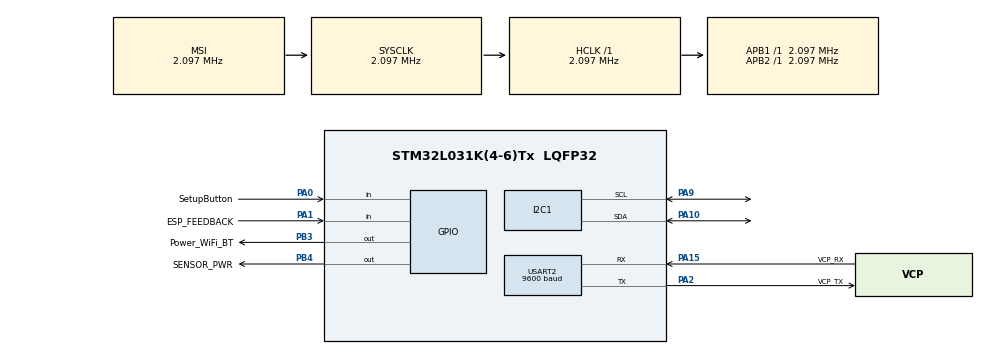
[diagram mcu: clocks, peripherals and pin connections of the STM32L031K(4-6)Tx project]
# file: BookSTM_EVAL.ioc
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I2C1.Timing=0x00000608
IWDG.Prescaler=IWDG_PRESCALER_256
Mcu.Family=STM32L0
Mcu.Name=STM32L031K(4-6)Tx
Mcu.Package=LQFP32
PA0-CK_IN.GPIO_Label=SetupButton
PA0-CK_IN.Signal=GPIO_Input
PA1.GPIO_Label=ESP_FEEDBACK
PA1.Signal=GPIO_Input
PA10.Mode=I2C
PA10.Signal=I2C1_SDA
PA13.GPIO_Label=TMS
PA13.Mode=Serial_Wire
PA13.Signal=SYS_SWDIO
PA14.GPIO_Label=TCK
PA14.Mode=Serial_Wire
PA14.Signal=SYS_SWCLK
PA15.GPIO_Label=VCP_RX
PA15.Mode=Asynchronous
PA15.Signal=USART2_RX
PA2.GPIO_Label=VCP_TX
PA2.Mode=Asynchronous
PA2.Signal=USART2_TX
PA9.Mode=I2C
PA9.Signal=I2C1_SCL
PB3.GPIO_Label=Power_WiFi_BT
PB3.Signal=GPIO_Output
PB4.GPIO_Label=SENSOR_PWR
PB4.Signal=GPIO_Output
PC14-OSC32_IN.Mode=LSE-External-Oscillator
PC14-OSC32_IN.Signal=RCC_OSC32_IN
PC15-OSC32_OUT.Mode=LSE-External-Oscillator
PC15-OSC32_OUT.Signal=RCC_OSC32_OUT
ProjectManager.HeapSize=0x200
ProjectManager.StackSize=0x400
ProjectManager.TargetToolchain=STM32CubeIDE
RCC.AHBFreq_Value=2097000
RCC.APB1Freq_Value=2097000
RCC.APB1TimFreq_Value=2097000
RCC.APB2Freq_Value=2097000
RCC.APB2TimFreq_Value=2097000
RCC.HCLKFreq_Value=2097000
RCC.HSE_VALUE=8000000
RCC.HSI16_VALUE=16000000
RCC.HSI48_VALUE=48000000
RCC.HSI_VALUE=16000000
RCC.MSI_VALUE=2097000
RCC.PLLMUL=RCC_PLLMUL_4
RCC.SYSCLKFreq_VALUE=2097000
RCC.VCOOutputFreq_Value=64000000
USART2.BaudRate=9600
USART2.VirtualMode-Asynchronous=VM_ASYNC
VP_IWDG_VS_IWDG.Mode=IWDG_Activate
VP_RTC_VS_RTC_Activate.Mode=RTC_Enabled
board=NUCLEO-L031K6

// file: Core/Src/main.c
/* USER CODE BEGIN Header */
/**
  ******************************************************************************
  * @file           : main.c
  * @brief          : Main program body
  ******************************************************************************
  * @attention
  *
  * Copyright (c) 2026 STMicroelectronics.
  * All rights reserved.
  *
  * This software is licensed under terms that can be found in the LICENSE file
  * in the root directory of this software component.
  * If no LICENSE file comes with this software, it is provided AS-IS.
  *
  ******************************************************************************
  */
/* USER CODE END Header */
#include "main.h"

/* USER CODE BEGIN Includes */
#include <stdio.h>
#include <stdbool.h>
/* USER CODE END Includes */

/* USER CODE BEGIN PM */
#define printf(...)    printf(__VA_ARGS__)
/* USER CODE END PM */

I2C_HandleTypeDef hi2c1;

IWDG_HandleTypeDef hiwdg;

RTC_HandleTypeDef hrtc;

UART_HandleTypeDef huart2;

void SystemClock_Config(void);
static void MX_GPIO_Init(void);
static void MX_USART2_UART_Init(void);
static void MX_I2C1_Init(void);
static void MX_IWDG_Init(void);
static void MX_RTC_Init(void);
/* USER CODE BEGIN PFP */
void 		SleepTight(void);
void 		SensorBringUP(void);
void 		watchdog_reset(void);
uint8_t 	GetSensorRegValue(uint8_t ui8Addr);
void 		GetSensorRegValueSet(uint8_t ui8Addr,  uint8_t *ui8Ptr, uint8_t ui8Size);
void 		SetSensorRegValue(uint8_t ui8Addr, uint8_t ui8Data);
void 		watchdog_set_active(void);
void 		watchdog_set_sleep(void);
uint32_t	GetTemperature(void);
int32_t 	bme280_compensate_T_int32(int32_t i32adc_T, struct bme280_calib_data *BME280_calib);
uint32_t 	bme280_compensate_P_int32(int32_t i32adc_P, struct bme280_calib_data *BME280_calib);
uint32_t 	bme280_compensate_H_int32(int32_t i32adc_H, struct bme280_calib_data *BME280_calib);
void 		bme280_read_calibration(struct bme280_calib_data *BME280_calib);
void 		GetMeasurmentThenUpdate(void);
uint32_t 	ui32_measure_vdd_mv(void);
void 		ConfirmComm(bool bState, uint32_t ui32CommDelay, uint8_t *ui8Data);
void 		WiFiSetup(void);
/* USER CODE END PFP */

/* USER CODE BEGIN 0 */

/* Global t_fine carry-over variable required for Pressure & Humidity calculations */
int32_t i32t_BME_fine;

// Returns temperature in DegC, resolution is 0.01 DegC. (e.g. 2500 means 25.00 DegC)
int32_t bme280_compensate_T_int32(int32_t i32adc_T, struct bme280_calib_data *BME280_calib)
{
    int32_t i32var1;
    int32_t i32var2;
    int32_t i32T;

    i32var1 = 0;
    i32var2 = 0;
    i32T = 0;

    i32var1 = ((((i32adc_T >> 3) - ((int32_t)BME280_calib->dig_T1 << 1))) * ((int32_t)BME280_calib->dig_T2)) >> 11;
    i32var2 = (((((i32adc_T >> 4) - ((int32_t)BME280_calib->dig_T1)) * ((i32adc_T >> 4) - ((int32_t)BME280_calib->dig_T1))) >> 12) * ((int32_t)BME280_calib->dig_T3)) >> 14;
    i32t_BME_fine = i32var1 + i32var2;
    i32T = (i32t_BME_fine * 5 + 128) >> 8;
    return i32T;
}

// Returns pressure in Pa as unsigned 32 bit integer
uint32_t bme280_compensate_P_int32(int32_t i32adc_P, struct bme280_calib_data *BME280_calib)
{
    int32_t i32var1;
    int32_t i32var2;
    uint32_t ui32p;

    i32var1 = 0;
    i32var2 = 0;
    ui32p = 0;

    i32var1 = (((int32_t)i32t_BME_fine) >> 1) - (int32_t)64000;
    i32var2 = (((i32var1 >> 2) * (i32var1 >> 2)) >> 11) * ((int32_t)BME280_calib->dig_P6);
    i32var2 = i32var2 + ((i32var1 * ((int32_t)BME280_calib->dig_P5)) << 1);
    i32var2 = (i32var2 >> 2) + (((int32_t)BME280_calib->dig_P4) << 16);
    i32var1 = (((BME280_calib->dig_P3 * (((i32var1 >> 2) * (i32var1 >> 2)) >> 13)) >> 3) + ((((int32_t)BME280_calib->dig_P2) * i32var1) >> 1)) >> 18;
    i32var1 = ((((32768 + i32var1)) * ((int32_t)BME280_calib->dig_P1)) >> 15);

    if (i32var1 != 0)
    {
    	ui32p = (((uint32_t)(((int32_t)1048576) - i32adc_P) - (i32var2 >> 12))) * 3125;
    	if (ui32p < 0x80000000)
    	{
    		ui32p = (ui32p << 1) / ((uint32_t)i32var1);
    	}
    	else
    	{
    		ui32p = (ui32p / (uint32_t)i32var1) * 2;
    	}

    	i32var1 = (((int32_t)BME280_calib->dig_P9) * ((int32_t)(((ui32p >> 3) * (ui32p >> 3)) >> 13))) >> 12;
    	i32var2 = (((int32_t)(ui32p >> 2)) * ((int32_t)BME280_calib->dig_P8)) >> 13;
    	ui32p = (uint32_t)((int32_t)ui32p + ((i32var1 + i32var2 + BME280_calib->dig_P7) >> 4));
    }
    return ui32p;
}

// Returns humidity in %RH as unsigned 32 bit integer, scaled by 1024.
// (e.g. 46080 means 46080 / 1024 = 45.00 %RH)
uint32_t bme280_compensate_H_int32(int32_t i32adc_H, struct bme280_calib_data *BME280_calib)
{
    int32_t i32v_x1_u32r;

    i32v_x1_u32r = 0;

    i32v_x1_u32r = (i32t_BME_fine - ((int32_t)76800));

    i32v_x1_u32r = (((((i32adc_H << 14) - (((int32_t)BME280_calib->dig_H4) << 20) - (((int32_t)BME280_calib->dig_H5) * i32v_x1_u32r)) +
                  ((int32_t)16384)) >> 15) * (((((((i32v_x1_u32r * ((int32_t)BME280_calib->dig_H6)) >> 10) *
                  (((i32v_x1_u32r * ((int32_t)BME280_calib->dig_H3)) >> 11) + ((int32_t)32768))) >> 10) + ((int32_t)2097152)) *
                  ((int32_t)BME280_calib->dig_H2) + ((int32_t)8192)) >> 14));

    i32v_x1_u32r = (i32v_x1_u32r - (((((i32v_x1_u32r >> 15) * (i32v_x1_u32r >> 15)) >> 7) * ((int32_t)BME280_calib->dig_H1)) >> 4));
    i32v_x1_u32r = (i32v_x1_u32r < 0 ? 0 : i32v_x1_u32r);
    i32v_x1_u32r = (i32v_x1_u32r > 419430400 ? 419430400 : i32v_x1_u32r);

    return (uint32_t)(i32v_x1_u32r >> 12);
}

void bme280_read_calibration(struct bme280_calib_data *BME280_calib)
{
    uint8_t ui8buf[26];

    /* Read first block (Dig_T1 to Dig_P9) */
    GetSensorRegValueSet(BME280_REG_DIG_T1, ui8buf, 24);

    BME280_calib->dig_T1 = (uint16_t)((ui8buf[1] << 8) | ui8buf[0]);
    BME280_calib->dig_T2 = (int16_t)((ui8buf[3] << 8) | ui8buf[2]);
    BME280_calib->dig_T3 = (int16_t)((ui8buf[5] << 8) | ui8buf[4]);
    BME280_calib->dig_P1 = (uint16_t)((ui8buf[7] << 8) | ui8buf[6]);
    BME280_calib->dig_P2 = (int16_t)((ui8buf[9] << 8) | ui8buf[8]);
    BME280_calib->dig_P3 = (int16_t)((ui8buf[11] << 8) | ui8buf[10]);
    BME280_calib->dig_P4 = (int16_t)((ui8buf[13] << 8) | ui8buf[12]);
    BME280_calib->dig_P5 = (int16_t)((ui8buf[15] << 8) | ui8buf[14]);
    BME280_calib->dig_P6 = (int16_t)((ui8buf[17] << 8) | ui8buf[16]);
    BME280_calib->dig_P7 = (int16_t)((ui8buf[19] << 8) | ui8buf[18]);
    BME280_calib->dig_P8 = (int16_t)((ui8buf[21] << 8) | ui8buf[20]);
    BME280_calib->dig_P9 = (int16_t)((ui8buf[23] << 8) | ui8buf[22]);

    /* Read single byte H1 */
    BME280_calib->dig_H1 = GetSensorRegValue(BME280_REG_DIG_H1);

    /* Read trailing block for remaining humidity trimmers */
    GetSensorRegValueSet(BME280_REG_DIG_H2, ui8buf, 7);

    BME280_calib->dig_H2 = (int16_t)((ui8buf[1] << 8) | ui8buf[0]);
    BME280_calib->dig_H3 = (uint8_t)ui8buf[2];
    BME280_calib->dig_H4 = (int16_t)((ui8buf[3] << 4) | (ui8buf[4] & 0x0F));
    BME280_calib->dig_H5 = (int16_t)((ui8buf[5] << 4) | (ui8buf[4] >> 4));
    BME280_calib->dig_H6 = (int8_t)ui8buf[6];

}

/* redirect printf output to usart2 (st-link vcp) */
int _write(int file, char *ptr, int len)
{
    HAL_UART_Transmit(&huart2, (uint8_t *)ptr, len, HAL_MAX_DELAY);
    return len;
}

/* set watchdog to short active timeout */
void watchdog_set_active(void)
{
    hiwdg.Init.Prescaler = IWDG_PRESCALER_ACTIVE;
    hiwdg.Init.Reload    = IWDG_RELOAD_ACTIVE;
    HAL_IWDG_Init(&hiwdg);
}

/* set watchdog to maximum sleep timeout */
void watchdog_set_sleep(void)
{
    hiwdg.Init.Prescaler = IWDG_PRESCALER_SLEEP;
    hiwdg.Init.Reload    = IWDG_RELOAD_SLEEP;
    HAL_IWDG_Init(&hiwdg);
}

/* reset watchdog */
void watchdog_reset(void)
{
	/* refresh watchdog to prevent system reset */
	if (HAL_IWDG_Refresh(&hiwdg) != HAL_OK)
	{
	    Error_Handler();
	}
}

/* obtain the register value from BME280 */
uint8_t GetSensorRegValue(uint8_t ui8Addr)
{
	uint8_t ui8Value;
	HAL_I2C_Mem_Read(&hi2c1, BME280_SLAVE<<1, (uint16_t)ui8Addr, 1, &ui8Value, 1, HAL_MAX_DELAY);
	return ui8Value;
}

/* obtain a set of the values from BME280 */
void GetSensorRegValueSet(uint8_t ui8Addr,  uint8_t *ui8Ptr, uint8_t ui8Size)
{
	HAL_I2C_Mem_Read(&hi2c1, BME280_SLAVE<<1, (uint16_t)ui8Addr, 1, ui8Ptr, ui8Size, HAL_MAX_DELAY);
}

/* set the register value of BME280 */
void SetSensorRegValue(uint8_t ui8Addr, uint8_t ui8Data)
{
	HAL_I2C_Mem_Write(&hi2c1, BME280_SLAVE<<1, (uint16_t)ui8Addr, 1, &ui8Data, 1, HAL_MAX_DELAY);
}

/* bring up the BME280 sensor */
void SensorBringUP(void)
{
	/* variable declarations */
	uint8_t ui8Data;
	bool bSuccess;
	uint8_t ui8Retry;

	/* variable initializations */
	ui8Retry = 0;
	ui8Data = 0;
	bSuccess = false;

	/* Attempt to initialize the sensor, if failed, then repeat with RETRY_INIT_CNT retries */
	while ((ui8Retry < RETRY_INIT_CNT) && (bSuccess != true))
	{
		/* Every loop we need to reset a watchdog timer */
		watchdog_reset();
		/* Turn on the power to the sensor */
		HAL_GPIO_WritePin(GPIOB, SENSOR_PWR_Pin, GPIO_PIN_SET);
		/* Wait for 200mS for sensor to stabilize */
		HAL_Delay(INIT_DELAY);
		/* Read ChipID */
		ui8Data = GetSensorRegValue(BME280_REG_ID);
		/* Compare the chipID */
		if (ui8Data != BME280_ID_VAL)
		{
			/* It is bad, comm error */
			printf ("[0]ChipID is %x which bad, attempt #%ld\r\n", (unsigned int)ui8Data, (uint32_t)ui8Retry);
			/* Retry counter increment */
			ui8Retry++;
			/* Turn off the power to the sensor */
			HAL_GPIO_WritePin(GPIOB, SENSOR_PWR_Pin, GPIO_PIN_RESET);
			/* Wait for 500mS for capacitors to discharge */
			HAL_Delay(LONG_RESET_BME280);
		}
		else
		{
			/* Good, we've got comm working */
			printf ("[1]ChipID: %lx\r\n", (uint32_t)ui8Data);
			/* Success flag is set */
			bSuccess = true;
		}
	}
	/* If failure */
	if (!bSuccess)
	{
		/* Print the message then hung up */
		printf ("[2]General env. sensor's failure, reboot by a watchdog timer..\r\n");
		/* ensure i2c lines are idle (released) */
		HAL_I2C_DeInit(&hi2c1);
		/* Power down the sensor */
		HAL_GPIO_WritePin(GPIOB, SENSOR_PWR_Pin, GPIO_PIN_RESET);
		/* This have to trigger the watchdog */
		while (true);
	}
	else
	{
		/* Otherwise reset the watchdog */
		watchdog_reset();
	    /* Apply soft-reset to default values */
		SetSensorRegValue(BME280_REG_RESET, BME280_REG_VALUE_RST);
		HAL_Delay(RESET_DELAY);
		/* Humidity oversampling x1 */
		SetSensorRegValue(BME280_REG_CTRL_HUM, 0x01);
		/* Filter off, standard standby duration */
		SetSensorRegValue(BME280_REG_CONFIG, 0x00);
		/* Temp x1, Press x1, Normal Mode active */
		SetSensorRegValue(BME280_REG_CTRL_MEAS, CTRL_BME280);
		HAL_Delay(RESET_DELAY);
		watchdog_reset();
	}
}

void SleepTight(void)
{
	/* enable WKUP5 (PB5) wakeup before standby */
	HAL_PWR_EnableWakeUpPin(PWR_WAKEUP_PIN1);
	/* clear wakeup flag */
	__HAL_PWR_CLEAR_FLAG(PWR_FLAG_WU);
	/* Sleep tight */
	HAL_PWR_EnterSTANDBYMode();
}

/* WiFi setup request */
void WiFiSetup(void)
{
	/* Global variables */
	uint8_t ui8pBuf[MID_BUFFER_SIZE];

	printf ("[9]Woken up for setup\r\n");
	HAL_GPIO_WritePin(GPIOB, Power_WiFi_BT_Pin, GPIO_PIN_SET);
	watchdog_reset();
	HAL_Delay(INIT_DELAY);
	watchdog_reset();
	/* Empty string */
	sprintf ((char*)ui8pBuf, "%c", '\0');
    /* watchdog reset */
 	watchdog_reset();
	/* Confirm that part is awake */
 	ConfirmComm(GPIO_PIN_RESET, ESP_GENTIMEOUT, ui8pBuf);
	/* Request setup */
 	sprintf ((char*)ui8pBuf, "Setup requested\r\n");
    /* watchdog reset */
 	watchdog_reset();
	/* Wait for confiramtion */
 	ConfirmComm(GPIO_PIN_SET, ESP_GENTIMEOUT, ui8pBuf);
    /* watchdog reset */
 	watchdog_reset();
 	printf ("[11]Setting up..\r\n");
 	/* Empty string */
	sprintf ((char*)ui8pBuf, "%c", '\0');
	/* Watchdog reset */
	watchdog_reset();
	/* Setup timeout is calculated as following: 1000mS*60*10 = 600000 or 10 minutes */
	ConfirmComm(GPIO_PIN_RESET, SETUP_TIMEOUT, ui8pBuf);
	printf("[12] Confirmed, sleep now.. \r\n");

	/* Go to sleep */
	SleepTight();
}

/* Check the reset reason, do we need to wakeup fully or not */
void WakeReasonChk(void)
{
	/* Declare variables */
	uint32_t ui32SleepValue;

	/* Initialize variables */
	ui32SleepValue = 0;

	/* If reason is a setup button then we need to proceed to WiFi setup */
	if (HAL_GPIO_ReadPin(GPIOA, SetupButton_Pin))
	{
		WiFiSetup();
	}
	/* Get the counter out the variables which are not killed by deep sleep */
	ui32SleepValue = HAL_RTCEx_BKUPRead(&hrtc, RTC_BKP_DR0);
	printf ("[3]Woken up %ld times, counter increased to %ld\r\n", ui32SleepValue, TIMEOUT_MASK&(ui32SleepValue + 1));
	/* if value not 0 then increase it by 1 and jump to sleep afterwards */
	if (ui32SleepValue)
	{
		/* Increase by 1 gated by TIMEOUT_MASK just in case if stored value appears too large */
		HAL_RTCEx_BKUPWrite(&hrtc, RTC_BKP_DR0, TIMEOUT_MASK&(ui32SleepValue + 1));
		watchdog_set_sleep();
		/* Go to sleep */
		SleepTight();
	}
}

/* measure vdd in millivolts using internal vrefint */
/* returns 0 on failure */
uint32_t ui32_measure_vdd_mv(void)
{
    /* Declare variables */
	uint32_t ui32_adc_raw;
    uint32_t ui32_vdd_mv;
    uint32_t ui32_tick_start;
    bool b_success;

    /* Initialize variables */
    ui32_adc_raw = 0u;
    ui32_vdd_mv = ADC_INVALID_RESULT;
    ui32_tick_start = 0u;
    b_success = true;

    /* enable adc clock */
    __HAL_RCC_ADC1_CLK_ENABLE();

    /* set adc clock mode to PCLK/2 */
    ADC1->CFGR2 = ADC_CFGR2_CKMODE_0;

    /* run calibration - must be done with ADEN=0 */
    ADC1->CR |= ADC_CR_ADCAL;

    /* Get the start time */
    ui32_tick_start = HAL_GetTick();

    /* Calibrate the ADC readout */
    while (((ADC1->CR & ADC_CR_ADCAL) != 0u) && (b_success == true))
    {
        /* reset watchdog */
    	watchdog_reset();

    	/* Check if calibration timeout expired */
    	if ((HAL_GetTick() - ui32_tick_start) >= ADC_TIMEOUT_MS)
        {
    		printf("[4]Warning: core voltage measurement failed - calibration timeout\r\n");
            /* Set the flag */
            b_success = false;
        }
    }

    /* If there was no error reported */
    if (b_success == true)
    {
        /* enable vrefint */
        ADC1_COMMON->CCR |= ADC_CCR_VREFEN;

        /* clear adc ready flag if set */
        if ((ADC1->ISR & ADC_ISR_ADRDY) != 0u)
        {
            ADC1->ISR |= ADC_ISR_ADRDY;
        }

        /* enable adc */
        ADC1->CR |= ADC_CR_ADEN;

        /* Get the start time */
        ui32_tick_start = HAL_GetTick();
        while (((ADC1->ISR & ADC_ISR_ADRDY) == 0u) && (b_success == true))
        {
           /* watchdog reset */
        	watchdog_reset();
        	/* Check if measurment timeout expired */
            if ((HAL_GetTick() - ui32_tick_start) >= ADC_TIMEOUT_MS)
            {
            	printf("[5]Warning: core voltage measurement failed - ADC ready timeout\r\n");
                /* Set the flag */
                b_success = false;
            }
        }
    }

    /* If success */
    if (b_success == true)
    {
        /* select vrefint channel 17 */
        ADC1->CHSELR = ADC_CHSELR_CHSEL17;

        /* set sample time - longest for vrefint (239.5 cycles) */
        ADC1->SMPR = ADC_SMPR_SMP_0 | ADC_SMPR_SMP_1 | ADC_SMPR_SMP_2;

        /* wait for vrefint to stabilise */
        HAL_Delay(1u);

        /* start conversion */
        ADC1->CR |= ADC_CR_ADSTART;

        ui32_tick_start = HAL_GetTick();
        while (((ADC1->ISR & ADC_ISR_EOC) == 0u) && (b_success == true))
        {
        	/* watchdog reset */
        	watchdog_reset();
            /* Check if measurment timeout expired */
            if ((HAL_GetTick() - ui32_tick_start) >= ADC_TIMEOUT_MS)
            {
            	printf("[6]Warning: core voltage measurement failed - conversion timeout\r\n");
                /* Set the flag */
                b_success = false;
            }
        }
    }

    /* If entire operation is successfull */
    if (b_success == true)
    {
        ui32_adc_raw = ADC1->DR;
        /* Read the voltage */
        ui32_vdd_mv = (uint32_t)(VREFINT_CAL_VREF_MV *
                      (uint32_t)(*VREFINT_CAL_ADDR) /
                      ui32_adc_raw);
    }

    /* cleanup always runs regardless of success or failure */
    ADC1->CR |= ADC_CR_ADDIS;
    ADC1_COMMON->CCR &= ~ADC_CCR_VREFEN;
    __HAL_RCC_ADC1_CLK_DISABLE();

    return ui32_vdd_mv;
}

void ConfirmComm(bool bState, uint32_t ui32CommDelay, uint8_t *ui8Data)
{
	/* Declare variables */
	uint32_t ui32EspTimeout;
	bool bClean;

	/* Initialize variables */
	ui32EspTimeout = 0;
	bClean = false;

	/* Reset the watchdog */
	watchdog_reset();
	/* Wait until XIAO confirms that it is reset */
	ui32EspTimeout = HAL_GetTick();
	/* But no longer than for an ESP_GENTIMEOUT */
	while (((HAL_GetTick() - ui32EspTimeout) < ui32CommDelay) && (bClean == false))
	{
		/* Reset watchdog during wait */
		watchdog_reset();
		/* Transmit the data in loop until ESP32 gets it */
		printf ("%s", ui8Data);
		/* Set the flag if ESP32 is ok _OR_ if button is pressed during the process */
		if (HAL_GPIO_ReadPin(GPIOA, ESP_FEEDBACK_Pin) == bState || (HAL_GetTick() > HAL_BUTTON_TIMEOUT && HAL_GPIO_ReadPin(GPIOA, SetupButton_Pin)))
		{
			bClean = true;
			printf ("[13] Exit because: ESP_FEEDBACK_Pin=%d == bState=%d _OR_ (Tick=%d which should be more than %d _AND_ pin is %d\r\n", (int)HAL_GPIO_ReadPin(GPIOA, ESP_FEEDBACK_Pin), (int)bState, (int)HAL_GetTick(), (int)HAL_BUTTON_TIMEOUT, (int)HAL_GPIO_ReadPin(GPIOA, SetupButton_Pin));
		}
	}

	/* Failure processing */
	if (!bClean)
	{
		printf ("[7]Failure of ESP32 XIAO, it did not send a value of %ld\r\n", (uint32_t)bState);
		/* Toggle the power to ESP32 off */
		HAL_GPIO_WritePin(GPIOB, SENSOR_PWR_Pin, GPIO_PIN_RESET);
		/* WDT shall activate here */
		while (true)
		{
			/* Trigger watchdog */
		}
	}
	printf ("[8]Got XIAO comm confirmation with status = %ld and timeout = %ld\r\n", (uint32_t)bState, ui32CommDelay);
}

void GetMeasurmentThenUpdate(void)
{
	/* Variables according to BME280 datasheet */
	struct bme280_calib_data BME280_calib_data_rb;
	uint8_t ui8buf[8];

	/* Declare variables */
	int32_t i32adc_P;
	int32_t i32adc_T;
	int32_t i32adc_H;
	uint8_t ui8pBuf[MID_BUFFER_SIZE];

	/* Assign initial values to them */
	i32adc_P = 0;
	i32adc_T = 0;
	i32adc_H = 0;

	/* Wakeup wifi and bt backend */
	HAL_GPIO_WritePin(GPIOB, Power_WiFi_BT_Pin, GPIO_PIN_SET);
	/* Reset watchdog */
	watchdog_reset();
	HAL_Delay(INIT_DELAY);
	watchdog_reset();
	/* Confirm that ESP32 is started **/
	sprintf ((char*)ui8pBuf, "%c", '\0');
	ConfirmComm(GPIO_PIN_RESET, ESP_GENTIMEOUT, ui8pBuf);
	/* Obtain the measurements */
	GetSensorRegValueSet(BME280_REG_DATA_START, ui8buf, 8);

    /*
     * Get the data into the buffer in the following format:
     * Temperature in integer, expressed in C is presented multiplied by 100 to preserve the fraction digits, i.e. 21.45C will be represented as 2145
     * Pressure will be shown in Pa, for example 99329 is expressed in Pa
     * Humidity will be shown as value * 1000, for example 70352 will mean 70.352%
     */
	i32adc_P = (int32_t)(((uint32_t)ui8buf[0] << 12) | ((uint32_t)ui8buf[1] << 4) | ((uint32_t)ui8buf[2] >> 4));
    i32adc_T = (int32_t)(((uint32_t)ui8buf[3] << 12) | ((uint32_t)ui8buf[4] << 4) | ((uint32_t)ui8buf[5] >> 4));
    i32adc_H = (int32_t)(((uint32_t)ui8buf[6] << 8) | (uint32_t)ui8buf[7]);

    /* Now we need to apply correction at calibration */
    bme280_read_calibration(&BME280_calib_data_rb);

    /* Print all including to a wifi                                                  */
    /* This is the only string which does not have [..] as it will be parsed by ESP32 */
    /* This is done via the string just for the case that it might take some time to  */
    /* boot ESP32 and STM32 will have to repeat the transmission until ESP32 confirms */
    /* that it got it otherwise STM32 will initiate the reset via the watchdog        */
	sprintf ((char*)ui8pBuf, "Temperature: %ld Pressure: %ld Humidity: %ld Battery: %ld\r\n",
			bme280_compensate_T_int32(i32adc_T, &BME280_calib_data_rb),
			bme280_compensate_P_int32(i32adc_P, &BME280_calib_data_rb),
			bme280_compensate_H_int32(i32adc_H, &BME280_calib_data_rb),
			ui32_measure_vdd_mv());
	/* Reset the watchdog */
	watchdog_reset();
	/* Confirm that ESP32 is started **/
	ConfirmComm(GPIO_PIN_SET, WIFI_NORMAL, ui8pBuf);

	HAL_Delay(INIT_DELAY);
	/* Reset the watchdog */
	watchdog_reset();
	/* Confirm that ESP32 is started */
	sprintf ((char*)ui8pBuf, "%c", '\0');
	ConfirmComm(GPIO_PIN_RESET, WIFI_NORMAL, ui8pBuf);
	watchdog_reset();
	HAL_Delay(INIT_DELAY);
	watchdog_reset();
	/* Power down the sensor */
	HAL_GPIO_WritePin(GPIOB, SENSOR_PWR_Pin, GPIO_PIN_RESET);
	/* Reset the watchdog */
	watchdog_reset();
}
/* USER CODE END 0 */

int main(void)
{

  /* MCU Configuration--------------------------------------------------------*/

  /* Reset of all peripherals, Initializes the Flash interface and the Systick. */
  HAL_Init();

  /* Configure the system clock */
  SystemClock_Config();

  /* Initialize all configured peripherals */
  MX_GPIO_Init();
  MX_I2C1_Init();
  MX_IWDG_Init();
  MX_RTC_Init();
  /* USER CODE BEGIN 2 */
  /* We need to initialize UART if we are in debug mode here as we will need all the printfs */
  MX_USART2_UART_Init();
  /* Set the watchdog parameters */
  watchdog_set_active();
  /* Reset the watchdog */
  watchdog_reset();
  /* We need to count how many times we have woken up */
  WakeReasonChk();
  /* Reset the wakeup counter to 0x01 */
  HAL_RTCEx_BKUPWrite(&hrtc, RTC_BKP_DR0, 1);
  /* Print the message so we could see what is going on */
  printf("[10]General start..\r\n");
  /* USER CODE END 2 */

  /* Infinite loop */
  while (1)
  {

    /* USER CODE BEGIN 3 */
	  /* Initialize the sensor */
	  SensorBringUP();
	  GetMeasurmentThenUpdate();
	  /* ensure i2c lines are idle (released) */
	  HAL_I2C_DeInit(&hi2c1);
	  /* Power down the sensor */
	  HAL_GPIO_WritePin(GPIOB, SENSOR_PWR_Pin, GPIO_PIN_RESET);
	  /* Power down the Wi-Fi & BT board */
	  HAL_GPIO_WritePin(GPIOB, Power_WiFi_BT_Pin, GPIO_PIN_RESET);
	  watchdog_set_sleep();
	  watchdog_reset();
	  /* Go to sleep */
	  SleepTight();
  }
  /* USER CODE END 3 */
}

void SystemClock_Config(void)
{
  RCC_OscInitTypeDef RCC_OscInitStruct = {0};
  RCC_ClkInitTypeDef RCC_ClkInitStruct = {0};
  RCC_PeriphCLKInitTypeDef PeriphClkInit = {0};

  /** Configure the main internal regulator output voltage
  */
  __HAL_PWR_VOLTAGESCALING_CONFIG(PWR_REGULATOR_VOLTAGE_SCALE1);

  /** Initializes the RCC Oscillators according to the specified parameters
  * in the RCC_OscInitTypeDef structure.
  */
  RCC_OscInitStruct.OscillatorType = RCC_OSCILLATORTYPE_LSI|RCC_OSCILLATORTYPE_MSI;
  RCC_OscInitStruct.LSIState = RCC_LSI_ON;
  RCC_OscInitStruct.MSIState = RCC_MSI_ON;
  RCC_OscInitStruct.MSICalibrationValue = 0;
  RCC_OscInitStruct.MSIClockRange = RCC_MSIRANGE_5;
  RCC_OscInitStruct.PLL.PLLState = RCC_PLL_NONE;
  if (HAL_RCC_OscConfig(&RCC_OscInitStruct) != HAL_OK)
  {
    Error_Handler();
  }

  /** Initializes the CPU, AHB and APB buses clocks
  */
  RCC_ClkInitStruct.ClockType = RCC_CLOCKTYPE_HCLK|RCC_CLOCKTYPE_SYSCLK
                              |RCC_CLOCKTYPE_PCLK1|RCC_CLOCKTYPE_PCLK2;
  RCC_ClkInitStruct.SYSCLKSource = RCC_SYSCLKSOURCE_MSI;
  RCC_ClkInitStruct.AHBCLKDivider = RCC_SYSCLK_DIV1;
  RCC_ClkInitStruct.APB1CLKDivider = RCC_HCLK_DIV1;
  RCC_ClkInitStruct.APB2CLKDivider = RCC_HCLK_DIV1;

  if (HAL_RCC_ClockConfig(&RCC_ClkInitStruct, FLASH_LATENCY_0) != HAL_OK)
  {
    Error_Handler();
  }
  PeriphClkInit.PeriphClockSelection = RCC_PERIPHCLK_USART2|RCC_PERIPHCLK_I2C1
                              |RCC_PERIPHCLK_RTC;
  PeriphClkInit.Usart2ClockSelection = RCC_USART2CLKSOURCE_PCLK1;
  PeriphClkInit.I2c1ClockSelection = RCC_I2C1CLKSOURCE_PCLK1;
  PeriphClkInit.RTCClockSelection = RCC_RTCCLKSOURCE_LSI;
  if (HAL_RCCEx_PeriphCLKConfig(&PeriphClkInit) != HAL_OK)
  {
    Error_Handler();
  }
}

static void MX_I2C1_Init(void)
{

  hi2c1.Instance = I2C1;
  hi2c1.Init.Timing = 0x00000608;
  hi2c1.Init.OwnAddress1 = 0;
  hi2c1.Init.AddressingMode = I2C_ADDRESSINGMODE_7BIT;
  hi2c1.Init.DualAddressMode = I2C_DUALADDRESS_DISABLE;
  hi2c1.Init.OwnAddress2 = 0;
  hi2c1.Init.OwnAddress2Masks = I2C_OA2_NOMASK;
  hi2c1.Init.GeneralCallMode = I2C_GENERALCALL_DISABLE;
  hi2c1.Init.NoStretchMode = I2C_NOSTRETCH_DISABLE;
  if (HAL_I2C_Init(&hi2c1) != HAL_OK)
  {
    Error_Handler();
  }

  /** Configure Analogue filter
  */
  if (HAL_I2CEx_ConfigAnalogFilter(&hi2c1, I2C_ANALOGFILTER_ENABLE) != HAL_OK)
  {
    Error_Handler();
  }

  /** Configure Digital filter
  */
  if (HAL_I2CEx_ConfigDigitalFilter(&hi2c1, 0) != HAL_OK)
  {
    Error_Handler();
  }

}

static void MX_IWDG_Init(void)
{

  hiwdg.Instance = IWDG;
  hiwdg.Init.Prescaler = IWDG_PRESCALER_256;
  hiwdg.Init.Window = 4095;
  hiwdg.Init.Reload = 4095;
  if (HAL_IWDG_Init(&hiwdg) != HAL_OK)
  {
    Error_Handler();
  }

}

static void MX_RTC_Init(void)
{

  /** Initialize RTC Only
  */
  hrtc.Instance = RTC;
  hrtc.Init.HourFormat = RTC_HOURFORMAT_24;
  hrtc.Init.AsynchPrediv = 127;
  hrtc.Init.SynchPrediv = 255;
  hrtc.Init.OutPut = RTC_OUTPUT_DISABLE;
  hrtc.Init.OutPutRemap = RTC_OUTPUT_REMAP_NONE;
  hrtc.Init.OutPutPolarity = RTC_OUTPUT_POLARITY_HIGH;
  hrtc.Init.OutPutType = RTC_OUTPUT_TYPE_OPENDRAIN;
  if (HAL_RTC_Init(&hrtc) != HAL_OK)
  {
    Error_Handler();
  }

}

static void MX_USART2_UART_Init(void)
{

  huart2.Instance = USART2;
  huart2.Init.BaudRate = 9600;
  huart2.Init.WordLength = UART_WORDLENGTH_8B;
  huart2.Init.StopBits = UART_STOPBITS_1;
  huart2.Init.Parity = UART_PARITY_NONE;
  huart2.Init.Mode = UART_MODE_TX_RX;
  huart2.Init.HwFlowCtl = UART_HWCONTROL_NONE;
  huart2.Init.OverSampling = UART_OVERSAMPLING_16;
  huart2.Init.OneBitSampling = UART_ONE_BIT_SAMPLE_DISABLE;
  huart2.AdvancedInit.AdvFeatureInit = UART_ADVFEATURE_NO_INIT;
  if (HAL_UART_Init(&huart2) != HAL_OK)
  {
    Error_Handler();
  }

}

static void MX_GPIO_Init(void)
{
  GPIO_InitTypeDef GPIO_InitStruct = {0};

  /* GPIO Ports Clock Enable */
  __HAL_RCC_GPIOC_CLK_ENABLE();
  __HAL_RCC_GPIOA_CLK_ENABLE();
  __HAL_RCC_GPIOB_CLK_ENABLE();

  /*Configure GPIO pin Output Level */
  HAL_GPIO_WritePin(GPIOB, Power_WiFi_BT_Pin|SENSOR_PWR_Pin, GPIO_PIN_RESET);

  /*Configure GPIO pins : SetupButton_Pin ESP_FEEDBACK_Pin */
  GPIO_InitStruct.Pin = SetupButton_Pin|ESP_FEEDBACK_Pin;
  GPIO_InitStruct.Mode = GPIO_MODE_INPUT;
  GPIO_InitStruct.Pull = GPIO_NOPULL;
  HAL_GPIO_Init(GPIOA, &GPIO_InitStruct);

  /*Configure GPIO pins : Power_WiFi_BT_Pin SENSOR_PWR_Pin */
  GPIO_InitStruct.Pin = Power_WiFi_BT_Pin|SENSOR_PWR_Pin;
  GPIO_InitStruct.Mode = GPIO_MODE_OUTPUT_PP;
  GPIO_InitStruct.Pull = GPIO_NOPULL;
  GPIO_InitStruct.Speed = GPIO_SPEED_FREQ_LOW;
  HAL_GPIO_Init(GPIOB, &GPIO_InitStruct);

}

void Error_Handler(void)
{
  __disable_irq();
  while (1)
  {
  }
}
